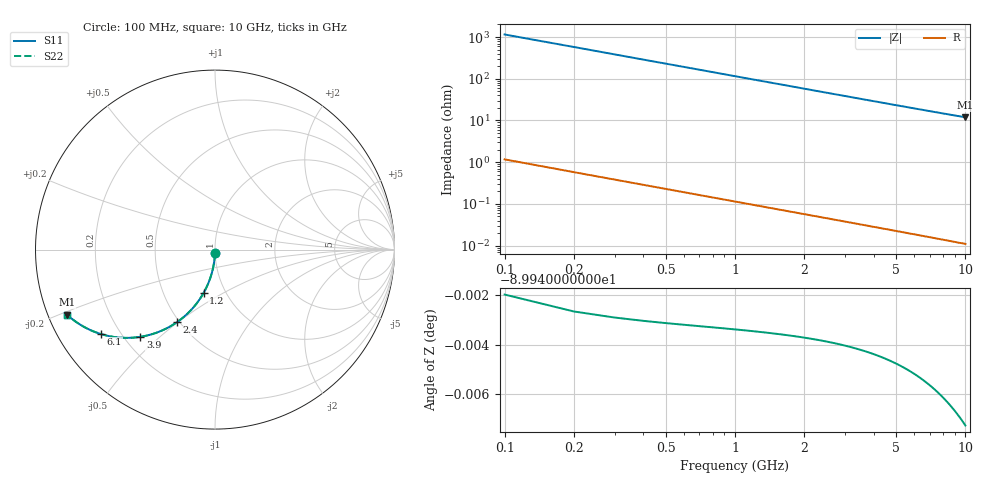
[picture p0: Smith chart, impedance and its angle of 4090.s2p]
# Hz S RI R 50.00
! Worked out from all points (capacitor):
!   100 points, 100 MHz to 10 GHz, reference 50 ohm
!   read as one part in shunt: C = 1.38 pF near 100 MHz
!   lowest |Z| = 11.9 ohm at 10 GHz (marker M1)
!   S11 on the Smith chart (normalised r, x): 100 MHz: 1.00, -0.04; 1.2 GHz: 0.79, -0.41; 2.4 GHz: 0.48, -0.50; 3.9 GHz: 0.26, -0.43; 6.1 GHz: 0.13, -0.32; 10 GHz: 0.05, -0.21
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1e8  -0.000463 -0.0215  0.9995 -0.0218  0.9995 -0.0218  -0.000463 -0.0215
2e8  -0.00189 -0.0429  0.9981 -0.0436  0.9981 -0.0436  -0.00189 -0.0429
3e8  -0.00425 -0.0643  0.9957 -0.0652  0.9957 -0.0652  -0.00425 -0.0643
4e8  -0.00752 -0.0854  0.9924 -0.0867  0.9924 -0.0867  -0.00752 -0.0854
5e8  -0.0117 -0.1063  0.9883 -0.1079  0.9883 -0.1079  -0.0117 -0.1063
6e8  -0.0167 -0.1269  0.9832 -0.1288  0.9832 -0.1288  -0.0167 -0.1269
7e8  -0.0226 -0.1471  0.9773 -0.1494  0.9773 -0.1494  -0.0226 -0.1471
9e8  -0.0368 -0.1864  0.9631 -0.1893  0.9631 -0.1893  -0.0368 -0.1864
1.2e9  -0.0635 -0.2415  0.9364 -0.2454  0.9364 -0.2454  -0.0635 -0.2415
1.5e9  -0.0957 -0.2913  0.9042 -0.2963  0.9042 -0.2963  -0.0957 -0.2913
1.8e9  -0.1322 -0.3353  0.8677 -0.3412  0.8677 -0.3412  -0.1322 -0.3353
2.1e9  -0.1717 -0.3732  0.8282 -0.3801  0.8282 -0.3801  -0.1717 -0.3732
2.4e9  -0.2129 -0.405  0.787 -0.4129  0.787 -0.4129  -0.2129 -0.405
2.9e9  -0.283 -0.4452  0.7169 -0.4548  0.7169 -0.4548  -0.283 -0.4452
3.4e9  -0.3516 -0.4713  0.6482 -0.4827  0.6482 -0.4827  -0.3516 -0.4713
3.9e9  -0.4163 -0.486  0.5835 -0.499  0.5835 -0.499  -0.4163 -0.486
5.1e9  -0.5494 -0.4885  0.4504 -0.5056  0.4504 -0.5056  -0.5494 -0.4885
6.1e9  -0.6357 -0.4704  0.3641 -0.491  0.3641 -0.491  -0.6357 -0.4704
6.7e9  -0.678 -0.4553  0.3217 -0.4781  0.3217 -0.4781  -0.678 -0.4553
7.5e9  -0.7253 -0.4329  0.2743 -0.4585  0.2743 -0.4585  -0.7253 -0.4329
8.4e9  -0.7684 -0.4068  0.2312 -0.4356  0.2312 -0.4356  -0.7684 -0.4068
1e10  -0.825 -0.3618  0.1743 -0.3965  0.1743 -0.3965  -0.825 -0.3618
